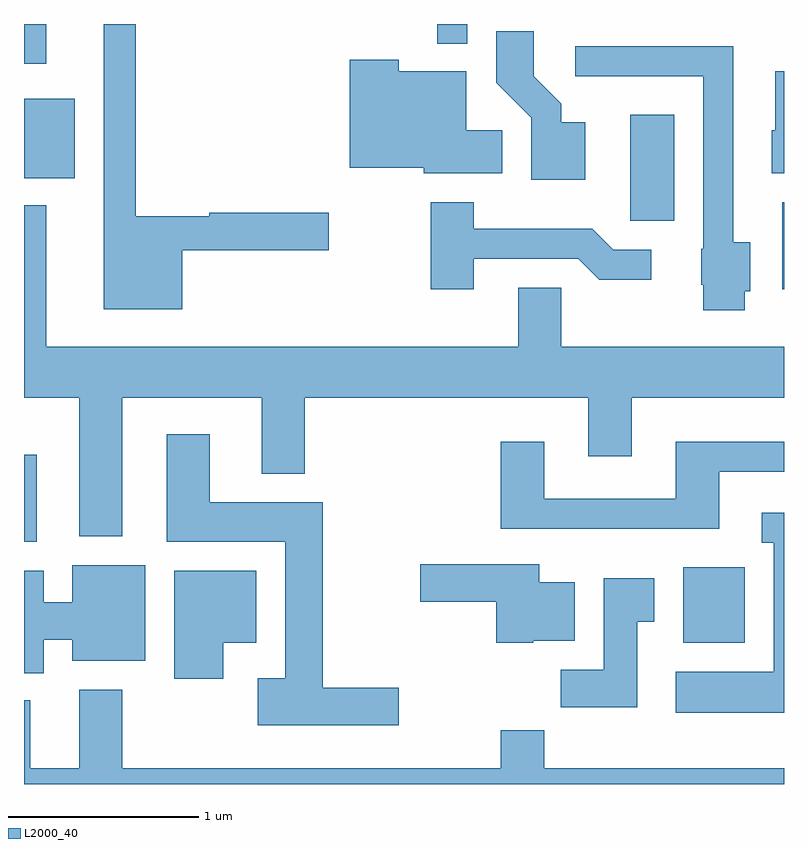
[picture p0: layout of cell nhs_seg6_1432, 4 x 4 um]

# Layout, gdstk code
import gdstk
lib = gdstk.Library(unit=1e-6, precision=1e-09)
def R(c, l, rs):  # rectangles x0, y0, x1, y1
    for r in rs: c.add(gdstk.rectangle(r[:2], r[2:], *l))
def P(c, l, *ps):  # polygons
    for p in ps: c.add(gdstk.Polygon(p, *l))
L2000_40 = (2000, 40)

nhs_seg6_1432 = lib.new_cell('nhs_seg6_1432')
R(nhs_seg6_1432, L2000_40, [(231.081,1610.906,231.404,1611.304), (227.611,1611.436,227.679,1611.894), (231.601,1612.766,231.611,1613.224), (230.801,1613.126,231.034,1613.684), (227.611,1613.351,227.879,1613.769), (227.611,1613.953,227.729,1614.162), (229.786,1614.058,229.944,1614.162)])
P(nhs_seg6_1432, L2000_40, [(228.444,1612.971),(229.214,1612.971),(229.214,1613.169),(228.586,1613.169),(228.586,1613.149),(228.199,1613.149),(228.199,1614.162),(228.031,1614.162),(228.031,1612.661),(228.444,1612.661)],
  [(230.564,1613.644),(230.439,1613.644),(230.439,1613.742),(230.294,1613.887),(230.294,1614.124),(230.096,1614.124),(230.096,1613.854),(230.281,1613.669),(230.281,1613.341),(230.564,1613.341)],
  [(231.404,1612.756),(231.434,1612.756),(231.434,1613.014),(231.344,1613.014),(231.344,1614.044),(230.513,1614.044),(230.513,1613.886),(231.186,1613.886),(231.186,1612.98),(231.176,1612.98),(231.176,1612.79),(231.186,1612.79),(231.186,1612.656),(231.404,1612.656)],
  [(230.129,1613.604),(229.939,1613.604),(229.939,1613.914),(229.584,1613.914),(229.584,1613.974),(229.326,1613.974),(229.326,1613.406),(229.716,1613.406),(229.716,1613.376),(230.129,1613.376)],
  [(231.611,1613.914),(231.566,1613.914),(231.566,1613.604),(231.546,1613.604),(231.546,1613.376),(231.611,1613.376)],
  [(229.979,1612.926),(230.529,1612.926),(230.639,1612.816),(230.913,1612.816),(230.913,1612.974),(230.712,1612.974),(230.602,1613.084),(229.979,1613.084),(229.979,1613.224),(229.751,1613.224),(229.751,1612.766),(229.979,1612.766)],
  [(228.129,1612.196),(228.861,1612.196),(228.861,1611.796),(229.089,1611.796),(229.089,1612.196),(230.581,1612.196),(230.581,1611.886),(230.809,1611.886),(230.809,1612.196),(231.611,1612.196),(231.611,1612.464),(230.439,1612.464),(230.439,1612.774),(230.211,1612.774),(230.211,1612.464),(227.729,1612.464),(227.729,1613.208),(227.611,1613.208),(227.611,1612.196),(227.901,1612.196),(227.901,1611.466),(228.129,1611.466)],
  [(229.584,1610.669),(229.184,1610.669),(229.184,1611.644),(228.589,1611.644),(228.589,1612.004),(228.361,1612.004),(228.361,1611.436),(228.986,1611.436),(228.986,1610.719),(228.841,1610.719),(228.841,1610.471),(229.584,1610.471)],
  [(231.269,1611.806),(231.611,1611.806),(231.611,1611.964),(231.041,1611.964),(231.041,1611.664),(230.349,1611.664),(230.349,1611.964),(230.121,1611.964),(230.121,1611.506),(231.269,1611.506)],
  [(231.611,1611.589),(231.493,1611.589),(231.493,1611.431),(231.556,1611.431),(231.556,1610.754),(231.041,1610.754),(231.041,1610.536),(231.611,1610.536)],
  [(230.29,1610.916),(230.509,1610.916),(230.509,1611.224),(230.324,1611.224),(230.324,1611.319),(229.696,1611.319),(229.696,1611.121),(230.096,1611.121),(230.096,1610.906),(230.29,1610.906)],
  [(227.714,1610.921),(227.866,1610.921),(227.866,1610.811),(228.249,1610.811),(228.249,1611.314),(227.866,1611.314),(227.866,1611.119),(227.714,1611.119),(227.714,1611.284),(227.611,1611.284),(227.611,1610.746),(227.714,1610.746)],
  [(228.659,1610.906),(228.834,1610.906),(228.834,1611.284),(228.401,1611.284),(228.401,1610.716),(228.659,1610.716)],
  [(230.839,1611.016),(230.929,1611.016),(230.929,1611.244),(230.661,1611.244),(230.661,1610.764),(230.436,1610.764),(230.436,1610.566),(230.839,1610.566)],
  [(231.611,1610.244),(230.349,1610.244),(230.349,1610.444),(230.121,1610.444),(230.121,1610.244),(228.129,1610.244),(228.129,1610.659),(227.901,1610.659),(227.901,1610.244),(227.644,1610.244),(227.644,1610.603),(227.611,1610.603),(227.611,1610.162),(231.611,1610.162)])

lib.write_gds('nhs_seg6_1432.gds')
